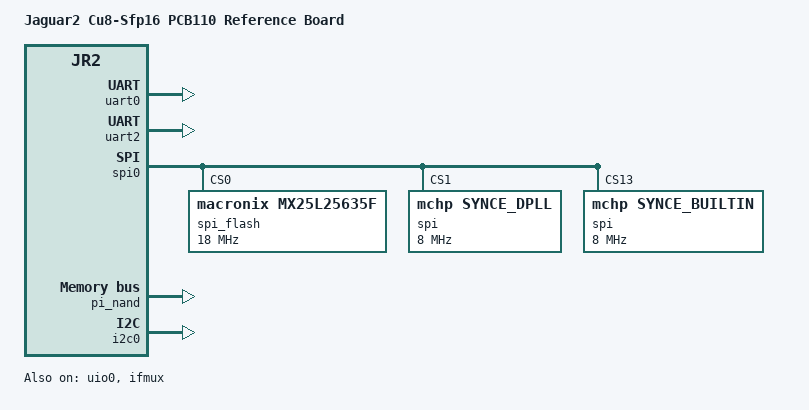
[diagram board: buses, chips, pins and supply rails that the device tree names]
// SPDX-License-Identifier: (GPL-2.0+ OR MIT)
/*
 * Copyright (c) 2020 Microsemi Corporation
 */

#include "jaguar2.dtsi"

/ {
	model = "Jaguar2 Cu8-Sfp16 PCB110 Reference Board";
	compatible = "mscc,jr2-pcb110", "mscc,jr2";

	aliases {
		spi0 = &spi0;
		serial0 = &uart0;
	};

	chosen {
		stdout-path = "serial0:115200n8";
	};
};

&uart0 {
	status = "okay";
};

&uart2 {
	status = "okay";
};

&spi0 {
	status = "okay";
	spi-flash@0 {
		label = "spi_flash";
		compatible = "macronix,mx25l25635f", "jedec,spi-nor";
		spi-max-frequency = <18000000>; /* input clock */
		reg = <0>; /* CS0 */
	};
	// synce module
	spi@1 {
		compatible = "mchp,synce_dpll";
		reg = <0x1>; /* CS1 */
		pinctrl-0 = <&synce_pins>;
		pinctrl-names = "default";
		spi-max-frequency = <8000000>;
	};
	// CPLD for Synce CPLD
	spi@d {
		compatible = "mchp,synce_builtin";
		reg = <0xd>; /* CS13 */
		pinctrl-0 = <&synce_builtin_pins>;
		pinctrl-names = "default";
		spi-max-frequency = <8000000>;
	};
};

&gpio {
	synce_pins: synce-pins {
		// GPIO 16 == SI_nCS1
		pins = "GPIO_16";
		function = "si";
	};
	synce_builtin_pins: synce-builtin-pins {
		// GPIO 49 == SI_nCS13
		pins = "GPIO_49";
		function = "si";
	};
};

&pi_nand {
	status = "okay";
	chip-delay = <100>; // MX30LF1GE8AB with internal ECC has 45-70 us tR_ECC
	waitcc = <8>;       // Slow down NAND CS via waitcc - appx 77ns
	partitions {
		compatible = "fixed-partitions";
		#address-cells = <1>;
		#size-cells = <1>;
		/* 256MiB */
		partition@0 {
			    label = "rootfs_data";
			    reg = <0x0000000 0x08000000>;
		};
	};
};

&i2c0 {
	status = "okay";
	i2c-sda-hold-time-ns = <300>;
};

&uio0 {
	status = "okay";
};

&fdma {
	status = "okay";
};

&ifmux {
	status = "okay";
};
